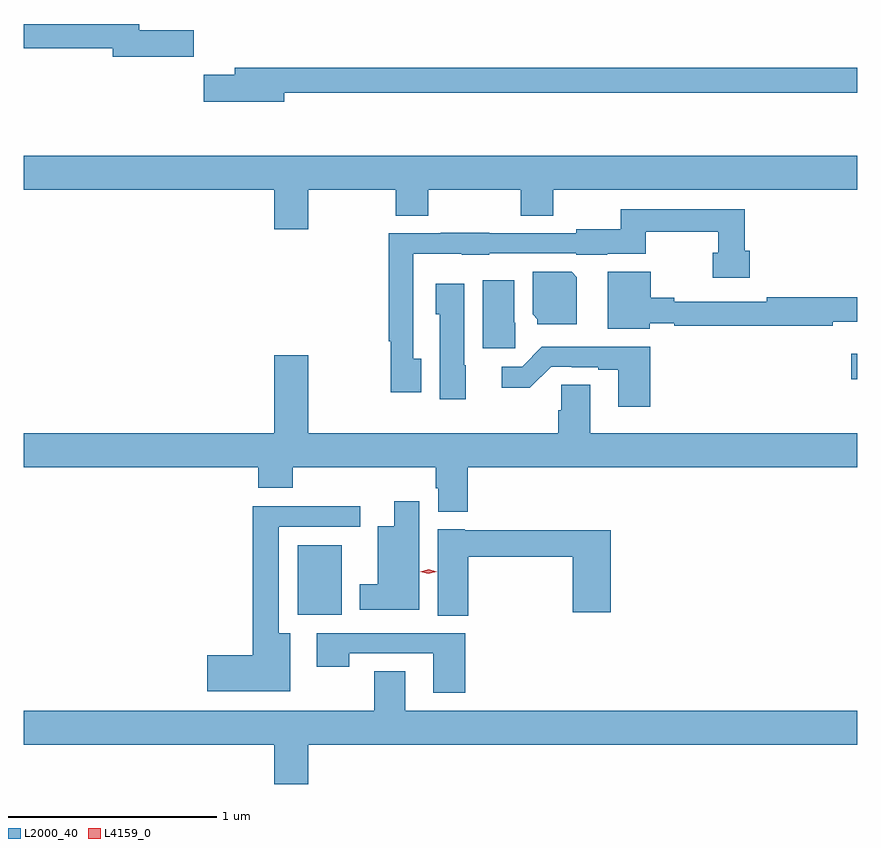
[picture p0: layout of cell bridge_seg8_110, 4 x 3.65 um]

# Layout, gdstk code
import gdstk
lib = gdstk.Library(unit=1e-6, precision=1e-09)
def R(c, l, rs):  # rectangles x0, y0, x1, y1
    for r in rs: c.add(gdstk.rectangle(r[:2], r[2:], *l))
def P(c, l, *ps):  # polygons
    for p in ps: c.add(gdstk.Polygon(p, *l))
L2000_40 = (2000, 40)
L4159_0 = (4159, 0)

bridge_seg8_110 = lib.new_cell('bridge_seg8_110')
R(bridge_seg8_110, L2000_40, [(764.522,1134.44,764.734,1134.775), (767.178,1135.571,767.207,1135.693)])
P(bridge_seg8_110, L2000_40, [(764.023,1137.247),(763.762,1137.247),(763.762,1137.276),(763.207,1137.276),(763.207,1137.16),(763.634,1137.16),(763.634,1137.118),(764.023,1137.118)],
  [(764.458,1136.946),(767.207,1136.946),(767.207,1137.067),(764.219,1137.067),(764.219,1137.033),(764.07,1137.033),(764.07,1136.903),(764.458,1136.903)],
  [(764.572,1136.48),(764.992,1136.48),(764.992,1136.356),(765.147,1136.356),(765.147,1136.48),(765.592,1136.48),(765.592,1136.356),(765.747,1136.356),(765.747,1136.48),(767.207,1136.48),(767.207,1136.644),(763.207,1136.644),(763.207,1136.48),(764.408,1136.48),(764.408,1136.292),(764.572,1136.292)],
  [(765.115,1135.67),(765.075,1135.67),(765.075,1136.174),(765.309,1136.174),(765.309,1136.168),(765.441,1136.168),(765.441,1136.175),(765.858,1136.175),(765.858,1136.168),(766.008,1136.168),(766.008,1136.174),(766.192,1136.174),(766.192,1136.28),(766.539,1136.28),(766.539,1136.179),(766.513,1136.179),(766.513,1136.057),(766.691,1136.057),(766.691,1136.187),(766.667,1136.187),(766.667,1136.388),(766.071,1136.388),(766.071,1136.29),(765.858,1136.29),(765.858,1136.271),(765.441,1136.271),(765.441,1136.273),(765.209,1136.273),(765.209,1136.271),(764.959,1136.271),(764.959,1135.753),(764.967,1135.753),(764.967,1135.509),(765.115,1135.509)],
  [(766.212,1135.839),(766.33,1135.839),(766.33,1135.828),(767.09,1135.828),(767.09,1135.848),(767.207,1135.848),(767.207,1135.964),(766.774,1135.964),(766.774,1135.944),(766.33,1135.944),(766.33,1135.961),(766.216,1135.961),(766.216,1136.086),(766.01,1136.086),(766.01,1135.814),(766.212,1135.814)],
  [(765.862,1136.06),(765.836,1136.086),(765.65,1136.086),(765.65,1135.882),(765.672,1135.86),(765.672,1135.835),(765.862,1135.835)],
  [(765.566,1135.842),(765.562,1135.842),(765.562,1136.047),(765.41,1136.047),(765.41,1135.719),(765.566,1135.719)],
  [(765.328,1135.638),(765.322,1135.638),(765.322,1136.029),(765.185,1136.029),(765.185,1135.884),(765.203,1135.884),(765.203,1135.476),(765.328,1135.476)],
  [(766.214,1135.726),(765.694,1135.726),(765.6,1135.632),(765.501,1135.632),(765.501,1135.53),(765.636,1135.53),(765.738,1135.632),(765.838,1135.632),(765.838,1135.629),(765.965,1135.629),(765.965,1135.617),(766.061,1135.617),(766.061,1135.44),(766.214,1135.44)],
  [(765.338,1135.148),(767.207,1135.148),(767.207,1135.312),(765.925,1135.312),(765.925,1135.544),(765.786,1135.544),(765.786,1135.422),(765.773,1135.422),(765.773,1135.312),(764.572,1135.312),(764.572,1135.687),(764.408,1135.687),(764.408,1135.312),(763.207,1135.312),(763.207,1135.148),(764.333,1135.148),(764.333,1135.049),(764.498,1135.049),(764.498,1135.148),(765.185,1135.148),(765.185,1135.047),(765.197,1135.047),(765.197,1134.935),(765.338,1134.935)],
  [(765.106,1134.985),(764.984,1134.985),(764.984,1134.865),(764.906,1134.865),(764.906,1134.586),(764.819,1134.586),(764.819,1134.464),(765.106,1134.464)],
  [(764.485,1134.352),(764.431,1134.352),(764.431,1134.864),(764.821,1134.864),(764.821,1134.962),(764.306,1134.962),(764.306,1134.245),(764.088,1134.245),(764.088,1134.074),(764.485,1134.074)],
  [(765.341,1134.718),(765.842,1134.718),(765.842,1134.453),(766.025,1134.453),(766.025,1134.847),(765.324,1134.847),(765.324,1134.85),(765.194,1134.85),(765.194,1134.436),(765.341,1134.436)],
  [(765.326,1134.351),(764.613,1134.351),(764.613,1134.192),(764.769,1134.192),(764.769,1134.255),(765.173,1134.255),(765.173,1134.066),(765.326,1134.066)],
  [(764.572,1133.816),(767.207,1133.816),(767.207,1133.98),(765.037,1133.98),(765.037,1134.17),(764.89,1134.17),(764.89,1133.98),(763.207,1133.98),(763.207,1133.816),(764.408,1133.816),(764.408,1133.628),(764.572,1133.628)])
P(bridge_seg8_110, L4159_0, [(765.149,1134.638),(765.11,1134.648),(765.11,1134.648),(765.11,1134.648),(765.15,1134.658),(765.189,1134.647),(765.189,1134.647),(765.189,1134.647)])

lib.write_gds('bridge_seg8_110.gds')
